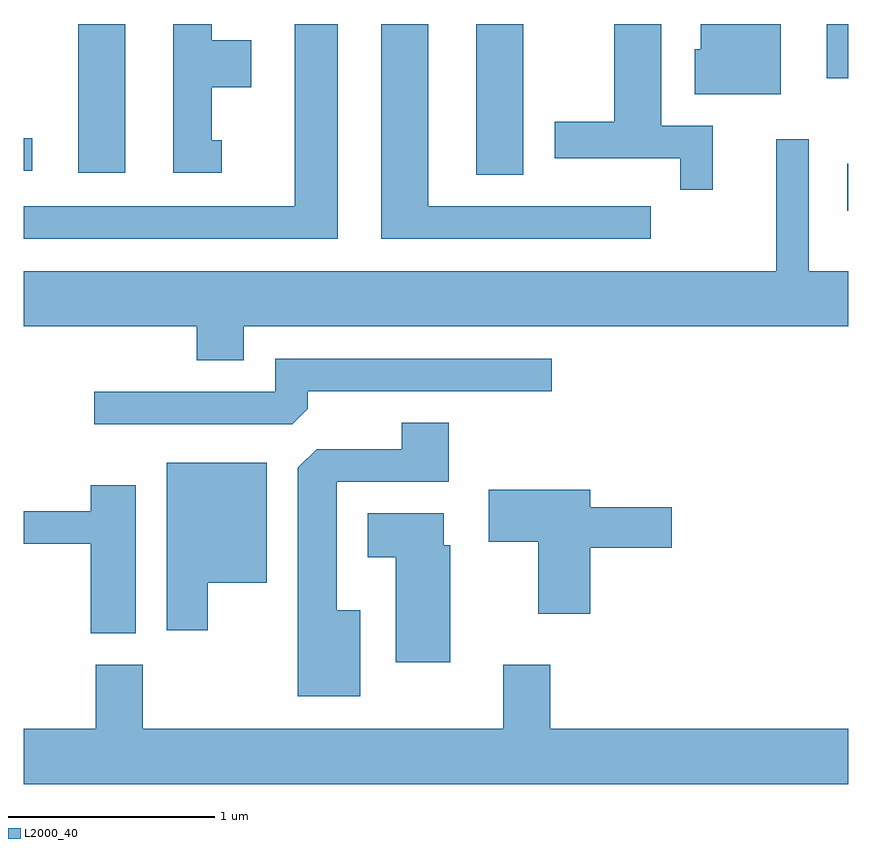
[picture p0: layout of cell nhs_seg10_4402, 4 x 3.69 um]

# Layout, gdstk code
import gdstk
lib = gdstk.Library(unit=1e-6, precision=1e-09)
def R(c, l, rs):  # rectangles x0, y0, x1, y1
    for r in rs: c.add(gdstk.rectangle(r[:2], r[2:], *l))
def P(c, l, *ps):  # polygons
    for p in ps: c.add(gdstk.Polygon(p, *l))
L2000_40 = (2000, 40)

nhs_seg10_4402 = lib.new_cell('nhs_seg10_4402')
R(nhs_seg10_4402, L2000_40, [(319.606,2085.616,319.611,2085.844), (317.806,2085.791,318.034,2086.522), (315.876,2085.801,316.104,2086.522), (315.611,2085.811,315.653,2085.969), (319.506,2086.258,319.611,2086.522)])
P(nhs_seg10_4402, L2000_40, [(318.954,2086.029),(318.704,2086.029),(318.704,2086.522),(318.476,2086.522),(318.476,2086.049),(318.186,2086.049),(318.186,2085.871),(318.796,2085.871),(318.796,2085.718),(318.954,2085.718)],
  [(319.284,2086.522),(318.896,2086.522),(318.896,2086.399),(318.866,2086.399),(318.866,2086.181),(319.284,2086.181)],
  [(316.573,2085.959),(316.524,2085.959),(316.524,2086.216),(316.714,2086.216),(316.714,2086.444),(316.524,2086.444),(316.524,2086.522),(316.336,2086.522),(316.336,2085.801),(316.573,2085.801)],
  [(317.134,2086.522),(316.926,2086.522),(316.926,2085.639),(315.611,2085.639),(315.611,2085.481),(317.134,2085.481)],
  [(318.653,2085.639),(317.574,2085.639),(317.574,2086.522),(317.346,2086.522),(317.346,2085.481),(318.653,2085.481)],
  [(316.679,2085.056),(319.611,2085.056),(319.611,2085.324),(319.419,2085.324),(319.419,2085.963),(319.261,2085.963),(319.261,2085.324),(315.611,2085.324),(315.611,2085.056),(316.451,2085.056),(316.451,2084.891),(316.679,2084.891)],
  [(316.989,2084.657),(316.989,2084.741),(318.173,2084.741),(318.173,2084.899),(316.831,2084.899),(316.831,2084.739),(315.953,2084.739),(315.953,2084.581),(316.914,2084.581)],
  [(317.244,2083.679),(317.129,2083.679),(317.129,2084.301),(317.674,2084.301),(317.674,2084.589),(317.446,2084.589),(317.446,2084.459),(317.032,2084.459),(316.941,2084.369),(316.941,2083.261),(317.244,2083.261)],
  [(316.504,2083.811),(316.789,2083.811),(316.789,2084.394),(316.306,2084.394),(316.306,2083.581),(316.504,2083.581)],
  [(316.154,2084.284),(315.936,2084.284),(315.936,2084.159),(315.611,2084.159),(315.611,2084.001),(315.936,2084.001),(315.936,2083.566),(316.154,2083.566)],
  [(318.359,2083.981),(318.754,2083.981),(318.754,2084.179),(318.359,2084.179),(318.359,2084.264),(317.866,2084.264),(317.866,2084.011),(318.106,2084.011),(318.106,2083.661),(318.359,2083.661)],
  [(317.679,2083.994),(317.649,2083.994),(317.649,2084.149),(317.281,2084.149),(317.281,2083.936),(317.416,2083.936),(317.416,2083.426),(317.679,2083.426)],
  [(319.611,2083.104),(318.164,2083.104),(318.164,2083.414),(317.936,2083.414),(317.936,2083.104),(316.189,2083.104),(316.189,2083.414),(315.961,2083.414),(315.961,2083.104),(315.611,2083.104),(315.611,2082.836),(319.611,2082.836)])

lib.write_gds('nhs_seg10_4402.gds')
